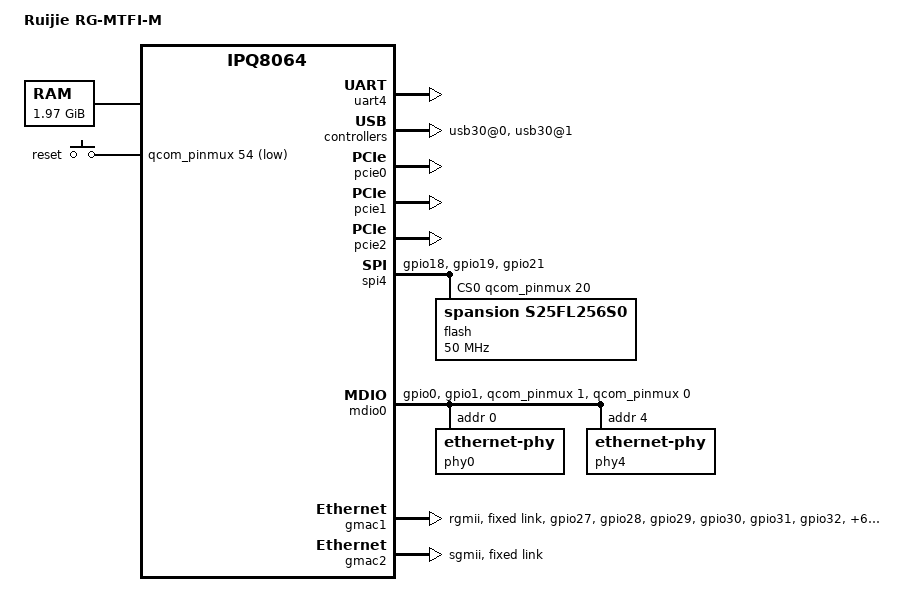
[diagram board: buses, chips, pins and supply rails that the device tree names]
#include "qcom-ipq8064-v2.0.dtsi"
#include <dt-bindings/input/input.h>

/ {
	model = "Ruijie RG-MTFI-M";
	compatible = "ruijie,mtfi-m", "qcom,ipq8064";

	memory@0 {
		reg = <0x42000000 0x7e000000>;
		device_type = "memory";
	};

	reserved-memory {
		#address-cells = <1>;
		#size-cells = <1>;
		ranges;
		rsvd@41200000 {
			reg = <0x41200000 0x300000>;
			no-map;
		};
	};

	aliases {
		serial0 = &uart4;
		mdio-gpio0 = &mdio0;
		sdcc1 = &sdcc1;

		led-boot = &sys;
		led-failsafe = &sys;
		led-running = &sys;
		led-upgrade = &sys;
	};

	chosen {
		bootargs = "console=ttyMSM0,115200n8 is_emmc_support=1 rootfstype=squashfs,ext4 root=/dev/mmcblk0p3 rootwait noinitrd kernel=/dev/mmcblk0p2 rootfs_data=/dev/mmcblk0p5 recovery_part=/dev/mmcblk0p1";
    /*quiet product_id=40010020*/
		stdout-path = "serial0:115200n8";
	};

	soc {
		pinmux@800000 {
			button_pins: button_pins {
				mux {
					pins = "gpio54";
					function = "gpio";
					drive-strength = <2>;
					bias-pull-up;
				};
			};

			/*led_pins: led_pins {
				mux {
					pins = "gpio7", "gpio8", "gpio9", "gpio22", "gpio23",
						"gpio24","gpio26";
					function = "gpio";
					drive-strength = <2>;
					bias-pull-up;
				};
			};*/

			i2c4_pins: i2c4_pinmux {
				mux {
					pins = "gpio12", "gpio13";
					function = "gsbi4";
					bias-disable;
				};
			};

			spi_pins: spi_pins {
				mux {
					pins = "gpio18", "gpio19", "gpio21";
					function = "gsbi5";
					drive-strength = <10>;
					bias-none;
				};
			};

			mdio0_pins: mdio0_pins {
				mux {
					pins = "gpio0", "gpio1";
					function = "gpio";
					drive-strength = <8>;
					bias-disable;
				};
			};

			rgmii2_pins: rgmii2_pins {
				mux {
					pins = "gpio27", "gpio28", "gpio29", "gpio30", "gpio31", "gpio32",
					       "gpio51", "gpio52", "gpio59", "gpio60", "gpio61", "gpio62" ;
					function = "rgmii2";
					drive-strength = <8>;
					bias-disable;
				};
			};
		};

		gsbi@16300000 {
			qcom,mode = <GSBI_PROT_I2C_UART>;
			status = "ok";
			uart4: serial@16340000 {
				status = "ok";
			};
			/*
			 * The i2c device on gsbi4 should not be enabled.
			 * On ipq806x designs gsbi4 i2c is meant for exclusive
			 * RPM usage. Turning this on in kernel manifests as
			 * i2c failure for the RPM.
			 */
		};

		phy@100f8800 {		/* USB3 port 1 HS phy */
			status = "ok";
		};

		phy@100f8830 {		/* USB3 port 1 SS phy */
			status = "ok";
		};

		phy@110f8800 {		/* USB3 port 0 HS phy */
			status = "ok";
		};

		phy@110f8830 {		/* USB3 port 0 SS phy */
			status = "ok";
		};

		usb30@0 {
			status = "ok";
		};

		usb30@1 {
			status = "ok";
		};

		pcie0: pci@1b500000 {
			status = "ok";
		};

		pcie1: pci@1b700000 {
			status = "ok";
		};
		
		pcie2: pci@1b900000 {
			status = "ok";
		};

		gsbi5: gsbi@1a200000 {
			qcom,mode = <GSBI_PROT_SPI>;
			status = "ok";

			spi4: spi@1a280000 {
				status = "ok";

				pinctrl-0 = <&spi_pins>;
				pinctrl-names = "default";

				cs-gpios = <&qcom_pinmux 20 GPIO_ACTIVE_HIGH>;

				flash: m25p80@0 {
					compatible = "spansion,s25fl256s0", "spi-flash";
					#address-cells = <1>;
					#size-cells = <1>;
					spi-max-frequency = <50000000>;
					reg = <0>;

					partitions {
						compatible = "qcom,smem";
					};
          
				};
			};
		};

		mdio0: mdio {
			compatible = "virtual,mdio-gpio";
			#address-cells = <1>;
			#size-cells = <0>;
			gpios = <&qcom_pinmux 1 GPIO_ACTIVE_HIGH &qcom_pinmux 0 GPIO_ACTIVE_HIGH>;
			pinctrl-0 = <&mdio0_pins>;
			pinctrl-names = "default";

			phy0: ethernet-phy@0 {
				device_type = "ethernet-phy";
				reg = <0>;
				qca,ar8327-initvals = <
					0x00004 0x7600000   /* PAD0_MODE */
					0x00008 0x1000000   /* PAD5_MODE */
					0x0000c 0x80        /* PAD6_MODE */
					0x000e4 0xaa545     /* MAC_POWER_SEL */
					0x000e0 0xc74164de  /* SGMII_CTRL */
					0x0007c 0x4e        /* PORT0_STATUS */
					0x00094 0x4e        /* PORT6_STATUS */
					>;
			};

			phy4: ethernet-phy@4 {
				device_type = "ethernet-phy";
				reg = <4>;
			};
		};

		gmac1: ethernet@37200000 {
			status = "ok";
			phy-mode = "rgmii";
			qcom,id = <1>;
			qcom,phy_mdio_addr = <4>;
			qcom,poll_required = <1>;
			qcom,rgmii_delay = <0>;
			qcom,emulation = <0>;

			pinctrl-0 = <&rgmii2_pins>;
			pinctrl-names = "default";

			fixed-link {
				speed = <1000>;
				full-duplex;
			};
		};

		gmac2: ethernet@37400000 {
			status = "ok";
			phy-mode = "sgmii";
			qcom,id = <2>;
			qcom,phy_mdio_addr = <0>;	/* none */
			qcom,poll_required = <0>;	/* no polling */
			qcom,rgmii_delay = <0>;
			qcom,emulation = <0>;

			fixed-link {
				speed = <1000>;
				full-duplex;
			};
		};
		
		amba {
			sdcc1: sdcc@12400000 {
				status = "okay";
			};
			
		};
	};

	keys {
		compatible = "gpio-keys";
		pinctrl-0 = <&button_pins>;
		pinctrl-names = "default";
		
		reset {
			label = "reset";
			gpios = <&qcom_pinmux 54 GPIO_ACTIVE_LOW>;
			linux,code = <KEY_RESTART>;
		};
	};

	/*leds {
		compatible = "gpio-leds";
		pinctrl-0 = <&led_pins>;
		pinctrl-names = "default";

		power: pwr {
			label = "mtfi:amber:pwr";
			gpios = <&qcom_pinmux 7 GPIO_ACTIVE_HIGH>;
			default-state = "keep";
		};

		3g4g1 {
			label = "mtfi:amber:3G4G1";
			gpios = <&qcom_pinmux 8 GPIO_ACTIVE_HIGH>;
		};

		3g4g2 {
			label = "mtfi:amber:3G4G2";
			gpios = <&qcom_pinmux 9 GPIO_ACTIVE_HIGH>;
		};

		wifi1 {
			label = "mtfi:amber:wifi1";
			gpios = <&qcom_pinmux 22 GPIO_ACTIVE_HIGH>;
		};

		wifi2 {
			label = "mtfi:amber:wifi2";
			gpios = <&qcom_pinmux 23 GPIO_ACTIVE_HIGH>;
		};

		signal {
			label = "mtfi:amber:signal";
			gpios = <&qcom_pinmux 24 GPIO_ACTIVE_HIGH>;
		};

		sys: sys {
			label = "mtfi:amber:system";
			gpios = <&qcom_pinmux 26 GPIO_ACTIVE_HIGH>;
			default-state = "keep";
		};
	};*/
};

&adm_dma {
	status = "ok";
};
